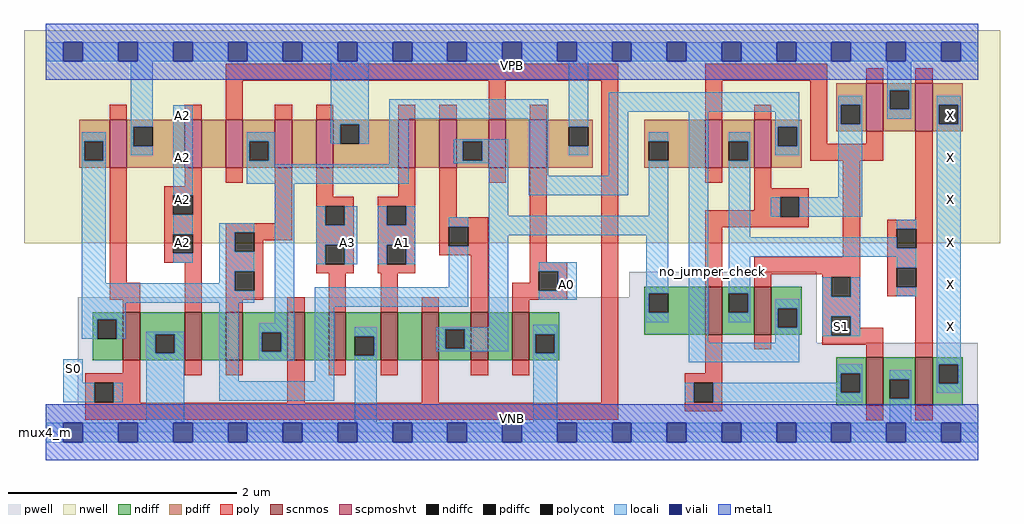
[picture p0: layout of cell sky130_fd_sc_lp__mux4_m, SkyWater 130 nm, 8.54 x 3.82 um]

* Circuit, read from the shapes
.subckt sky130_fd_sc_lp__mux4_m A0 A1 A2 A3 S0 S1 VGND VNB VPB VPWR X
XM1 VGND S0 n1 VNB sky130_fd_pr__nfet_01v8 w=0.42 l=0.15
XM2 n2 A2 VGND VNB sky130_fd_pr__nfet_01v8 w=0.42 l=0.15
XM3 n3 n1 n2 VNB sky130_fd_pr__nfet_01v8 w=0.42 l=0.15
XM4 n4 S0 n3 VNB sky130_fd_pr__nfet_01v8 w=0.42 l=0.15
XM5 VGND A3 n4 VNB sky130_fd_pr__nfet_01v8 w=0.42 l=0.15
XM6 n5 A1 VGND VNB sky130_fd_pr__nfet_01v8 w=0.42 l=0.15
XM7 n6 S0 n5 VNB sky130_fd_pr__nfet_01v8 w=0.42 l=0.15
XM8 n7 n1 n6 VNB sky130_fd_pr__nfet_01v8 w=0.42 l=0.15
XM9 VGND A0 n7 VNB sky130_fd_pr__nfet_01v8 w=0.42 l=0.15
XM10 n8 n9 n6 VNB sky130_fd_pr__nfet_01v8 w=0.42 l=0.15
XM11 n3 S1 n8 VNB sky130_fd_pr__nfet_01v8 w=0.42 l=0.15
XM12 VGND S1 n9 VNB sky130_fd_pr__nfet_01v8 w=0.42 l=0.15
XM13 X n8 VGND VNB sky130_fd_pr__nfet_01v8 w=0.42 l=0.15
XM14 VPWR S0 n1 VPB sky130_fd_pr__pfet_01v8_hvt w=0.42 l=0.15
XM15 n10 A2 VPWR VPB sky130_fd_pr__pfet_01v8_hvt w=0.42 l=0.15
XM16 n3 S0 n10 VPB sky130_fd_pr__pfet_01v8_hvt w=0.42 l=0.15
XM17 n11 n1 n3 VPB sky130_fd_pr__pfet_01v8_hvt w=0.42 l=0.15
XM18 VPWR A3 n11 VPB sky130_fd_pr__pfet_01v8_hvt w=0.42 l=0.15
XM19 n12 A1 VPWR VPB sky130_fd_pr__pfet_01v8_hvt w=0.42 l=0.15
XM20 n6 n1 n12 VPB sky130_fd_pr__pfet_01v8_hvt w=0.42 l=0.15
XM21 n13 S0 n6 VPB sky130_fd_pr__pfet_01v8_hvt w=0.42 l=0.15
XM22 VPWR A0 n13 VPB sky130_fd_pr__pfet_01v8_hvt w=0.42 l=0.15
XM23 n8 S1 n6 VPB sky130_fd_pr__pfet_01v8_hvt w=0.42 l=0.15
XM24 n3 n9 n8 VPB sky130_fd_pr__pfet_01v8_hvt w=0.42 l=0.15
XM25 VPWR S1 n9 VPB sky130_fd_pr__pfet_01v8_hvt w=0.42 l=0.15
XM26 X n8 VPWR VPB sky130_fd_pr__pfet_01v8_hvt w=0.42 l=0.15
.ends

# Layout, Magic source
magic
tech sky130A
magscale 1 2
<< nwell >>
rect -38 331 1670 704
<< pwell >>
rect 1021 236 1349 281
rect 56 157 1349 236
rect 56 49 1631 157
rect 0 0 1632 49
<< scnmos >>
rect 135 126 165 210
rect 243 126 273 210
rect 315 126 345 210
rect 423 126 453 210
rect 495 126 525 210
rect 586 126 616 210
rect 658 126 688 210
rect 744 126 774 210
rect 816 126 846 210
rect 1154 171 1184 255
rect 1240 171 1270 255
rect 1436 47 1466 131
rect 1522 47 1552 131
<< scpmoshvt >>
rect 112 463 142 547
rect 243 463 273 547
rect 315 463 345 547
rect 401 463 431 547
rect 473 463 503 547
rect 617 463 647 547
rect 689 463 719 547
rect 775 463 805 547
rect 847 463 877 547
rect 1154 463 1184 547
rect 1240 463 1270 547
rect 1436 527 1466 611
rect 1522 527 1552 611
<< ndiff >>
rect 82 198 135 210
rect 82 164 90 198
rect 124 164 135 198
rect 82 126 135 164
rect 165 172 243 210
rect 165 138 192 172
rect 226 138 243 172
rect 165 126 243 138
rect 273 126 315 210
rect 345 175 423 210
rect 345 141 378 175
rect 412 141 423 175
rect 345 126 423 141
rect 453 126 495 210
rect 525 168 586 210
rect 525 134 541 168
rect 575 134 586 168
rect 525 126 586 134
rect 616 126 658 210
rect 688 180 744 210
rect 688 146 699 180
rect 733 146 744 180
rect 688 126 744 146
rect 774 126 816 210
rect 846 172 899 210
rect 846 138 857 172
rect 891 138 899 172
rect 846 126 899 138
rect 1047 243 1154 255
rect 1047 209 1055 243
rect 1089 209 1154 243
rect 1047 171 1154 209
rect 1184 243 1240 255
rect 1184 209 1195 243
rect 1229 209 1240 243
rect 1184 171 1240 209
rect 1270 217 1323 255
rect 1270 183 1281 217
rect 1315 183 1323 217
rect 1270 171 1323 183
rect 1383 103 1436 131
rect 1383 69 1391 103
rect 1425 69 1436 103
rect 1383 47 1436 69
rect 1466 93 1522 131
rect 1466 59 1477 93
rect 1511 59 1522 93
rect 1466 47 1522 59
rect 1552 119 1605 131
rect 1552 85 1563 119
rect 1597 85 1605 119
rect 1552 47 1605 85
<< pdiff >>
rect 59 509 112 547
rect 59 475 67 509
rect 101 475 112 509
rect 59 463 112 475
rect 142 535 243 547
rect 142 501 153 535
rect 187 501 243 535
rect 142 463 243 501
rect 273 463 315 547
rect 345 509 401 547
rect 345 475 356 509
rect 390 475 401 509
rect 345 463 401 475
rect 431 463 473 547
rect 503 539 617 547
rect 503 505 515 539
rect 549 505 617 539
rect 503 463 617 505
rect 647 463 689 547
rect 719 509 775 547
rect 719 475 730 509
rect 764 475 775 509
rect 719 463 775 475
rect 805 463 847 547
rect 877 535 957 547
rect 877 501 915 535
rect 949 501 957 535
rect 877 463 957 501
rect 1047 509 1154 547
rect 1047 475 1055 509
rect 1089 475 1154 509
rect 1047 463 1154 475
rect 1184 509 1240 547
rect 1184 475 1195 509
rect 1229 475 1240 509
rect 1184 463 1240 475
rect 1270 535 1323 547
rect 1270 501 1281 535
rect 1315 501 1323 535
rect 1270 463 1323 501
rect 1383 573 1436 611
rect 1383 539 1391 573
rect 1425 539 1436 573
rect 1383 527 1436 539
rect 1466 599 1522 611
rect 1466 565 1477 599
rect 1511 565 1522 599
rect 1466 527 1522 565
rect 1552 573 1605 611
rect 1552 539 1563 573
rect 1597 539 1605 573
rect 1552 527 1605 539
<< ndiffc >>
rect 90 164 124 198
rect 192 138 226 172
rect 378 141 412 175
rect 541 134 575 168
rect 699 146 733 180
rect 857 138 891 172
rect 1055 209 1089 243
rect 1195 209 1229 243
rect 1281 183 1315 217
rect 1391 69 1425 103
rect 1477 59 1511 93
rect 1563 85 1597 119
<< pdiffc >>
rect 67 475 101 509
rect 153 501 187 535
rect 356 475 390 509
rect 515 505 549 539
rect 730 475 764 509
rect 915 501 949 535
rect 1055 475 1089 509
rect 1195 475 1229 509
rect 1281 501 1315 535
rect 1391 539 1425 573
rect 1477 565 1511 599
rect 1563 539 1597 573
<< poly >>
rect 315 615 1002 645
rect 112 547 142 573
rect 243 547 273 573
rect 315 547 345 615
rect 401 547 431 573
rect 473 547 503 573
rect 617 547 647 573
rect 689 547 719 573
rect 775 547 805 615
rect 847 547 877 573
rect 112 262 142 463
rect 243 431 273 463
rect 315 437 345 463
rect 207 415 273 431
rect 207 381 223 415
rect 257 381 273 415
rect 207 347 273 381
rect 401 366 431 463
rect 207 313 223 347
rect 257 313 273 347
rect 207 297 273 313
rect 112 232 165 262
rect 135 210 165 232
rect 243 210 273 297
rect 315 350 431 366
rect 315 316 331 350
rect 365 336 431 350
rect 473 412 503 463
rect 617 412 647 463
rect 473 396 539 412
rect 473 362 489 396
rect 523 362 539 396
rect 365 316 381 336
rect 315 282 381 316
rect 315 248 331 282
rect 365 248 381 282
rect 473 328 539 362
rect 473 294 489 328
rect 523 294 539 328
rect 473 278 539 294
rect 581 396 647 412
rect 581 362 597 396
rect 631 362 647 396
rect 581 328 647 362
rect 581 294 597 328
rect 631 294 647 328
rect 689 376 719 463
rect 775 437 805 463
rect 689 360 774 376
rect 689 326 705 360
rect 739 326 774 360
rect 689 310 774 326
rect 581 278 647 294
rect 315 232 381 248
rect 315 210 345 232
rect 423 210 453 236
rect 495 210 525 278
rect 586 210 616 278
rect 658 210 688 236
rect 744 210 774 310
rect 847 298 877 463
rect 847 282 913 298
rect 847 262 863 282
rect 816 248 863 262
rect 897 248 913 282
rect 816 232 913 248
rect 816 210 846 232
rect 135 103 165 126
rect 69 87 165 103
rect 243 100 273 126
rect 315 100 345 126
rect 69 53 85 87
rect 119 53 165 87
rect 69 52 165 53
rect 423 52 453 126
rect 495 100 525 126
rect 586 100 616 126
rect 658 52 688 126
rect 744 100 774 126
rect 816 100 846 126
rect 972 52 1002 615
rect 1154 615 1368 645
rect 1154 547 1184 615
rect 1240 547 1270 573
rect 1338 505 1368 615
rect 1436 611 1466 637
rect 1522 611 1552 637
rect 1436 505 1466 527
rect 1338 475 1466 505
rect 1154 437 1184 463
rect 1240 427 1270 463
rect 1240 411 1335 427
rect 1240 389 1285 411
rect 1154 377 1285 389
rect 1319 377 1335 411
rect 1154 359 1335 377
rect 1154 255 1184 359
rect 1395 307 1425 475
rect 1522 372 1552 527
rect 1240 277 1425 307
rect 1240 255 1270 277
rect 1359 271 1425 277
rect 1359 237 1375 271
rect 1409 237 1425 271
rect 1473 356 1552 372
rect 1473 322 1489 356
rect 1523 322 1552 356
rect 1473 288 1552 322
rect 1473 254 1489 288
rect 1523 254 1552 288
rect 1473 238 1552 254
rect 1359 203 1425 237
rect 1154 103 1184 171
rect 1240 145 1270 171
rect 1359 169 1375 203
rect 1409 183 1425 203
rect 1409 169 1466 183
rect 1359 153 1466 169
rect 1436 131 1466 153
rect 1522 131 1552 238
rect 69 22 1002 52
rect 1118 87 1184 103
rect 1118 53 1134 87
rect 1168 53 1184 87
rect 1118 37 1184 53
rect 1436 21 1466 47
rect 1522 21 1552 47
<< polycont >>
rect 223 381 257 415
rect 223 313 257 347
rect 331 316 365 350
rect 489 362 523 396
rect 331 248 365 282
rect 489 294 523 328
rect 597 362 631 396
rect 597 294 631 328
rect 705 326 739 360
rect 863 248 897 282
rect 85 53 119 87
rect 1285 377 1319 411
rect 1375 237 1409 271
rect 1489 322 1523 356
rect 1489 254 1523 288
rect 1375 169 1409 203
rect 1134 53 1168 87
<< locali >>
rect 0 649 31 683
rect 65 649 127 683
rect 161 649 223 683
rect 257 649 319 683
rect 353 649 415 683
rect 449 649 511 683
rect 545 649 607 683
rect 641 649 703 683
rect 737 649 799 683
rect 833 649 895 683
rect 929 649 991 683
rect 1025 649 1087 683
rect 1121 649 1183 683
rect 1217 649 1279 683
rect 1313 649 1375 683
rect 1409 649 1471 683
rect 1505 649 1567 683
rect 1601 649 1632 683
rect 149 535 187 649
rect 63 509 105 525
rect 63 475 67 509
rect 101 475 105 509
rect 149 501 153 535
rect 149 485 187 501
rect 63 261 105 475
rect 223 415 257 572
rect 499 539 565 649
rect 352 509 401 525
rect 352 475 356 509
rect 390 475 401 509
rect 499 505 515 539
rect 549 505 565 539
rect 601 549 879 583
rect 352 469 401 475
rect 601 469 635 549
rect 714 509 809 513
rect 714 475 730 509
rect 764 475 809 509
rect 714 471 809 475
rect 352 435 635 469
rect 223 347 257 381
rect 223 297 257 313
rect 304 350 365 366
rect 304 316 331 350
rect 304 282 365 316
rect 304 261 331 282
rect 63 248 331 261
rect 63 227 365 248
rect 63 198 140 227
rect 63 164 90 198
rect 124 164 140 198
rect 176 172 242 176
rect 176 138 192 172
rect 226 138 242 172
rect 31 87 65 128
rect 31 53 85 87
rect 119 53 135 87
rect 176 17 242 138
rect 304 89 338 227
rect 401 191 435 435
rect 473 362 489 396
rect 523 362 545 396
rect 473 328 545 362
rect 473 294 489 328
rect 523 294 545 328
rect 581 362 597 396
rect 631 362 647 396
rect 775 379 809 471
rect 845 449 879 549
rect 915 535 949 649
rect 1473 599 1515 649
rect 915 485 949 501
rect 985 561 1319 595
rect 985 449 1019 561
rect 845 415 1019 449
rect 1055 509 1089 525
rect 1055 379 1089 475
rect 581 328 647 362
rect 581 294 597 328
rect 631 294 647 328
rect 705 360 739 376
rect 705 254 739 326
rect 374 175 435 191
rect 374 141 378 175
rect 412 141 435 175
rect 374 125 435 141
rect 471 220 739 254
rect 775 345 1089 379
rect 471 89 505 220
rect 775 184 809 345
rect 863 282 929 298
rect 897 248 929 282
rect 863 232 929 248
rect 1051 243 1089 345
rect 1051 209 1055 243
rect 1051 193 1089 209
rect 304 55 505 89
rect 541 168 579 184
rect 575 134 579 168
rect 683 180 809 184
rect 683 146 699 180
rect 733 146 809 180
rect 683 142 809 146
rect 853 172 895 188
rect 541 17 579 134
rect 853 138 857 172
rect 891 138 895 172
rect 853 17 895 138
rect 1125 157 1159 561
rect 1277 535 1319 561
rect 1195 509 1233 525
rect 1229 475 1233 509
rect 1277 501 1281 535
rect 1315 501 1319 535
rect 1277 485 1319 501
rect 1387 573 1429 589
rect 1387 539 1391 573
rect 1425 539 1429 573
rect 1473 565 1477 599
rect 1511 565 1515 599
rect 1473 549 1515 565
rect 1559 573 1601 589
rect 1195 341 1233 475
rect 1387 411 1429 539
rect 1269 377 1285 411
rect 1319 377 1429 411
rect 1559 539 1563 573
rect 1597 539 1601 573
rect 1489 356 1523 372
rect 1195 322 1489 341
rect 1195 307 1523 322
rect 1195 243 1233 307
rect 1489 288 1523 307
rect 1229 209 1233 243
rect 1359 237 1375 271
rect 1409 237 1425 271
rect 1489 238 1523 254
rect 1195 193 1233 209
rect 1277 217 1319 233
rect 1277 183 1281 217
rect 1315 183 1319 217
rect 1277 157 1319 183
rect 1359 203 1425 237
rect 1359 169 1375 203
rect 1409 169 1425 203
rect 1359 168 1425 169
rect 1125 123 1319 157
rect 1559 119 1601 539
rect 1387 103 1429 119
rect 1387 87 1391 103
rect 1118 53 1134 87
rect 1168 69 1391 87
rect 1425 69 1429 103
rect 1168 53 1429 69
rect 1477 93 1515 109
rect 1511 59 1515 93
rect 1559 85 1563 119
rect 1597 85 1601 119
rect 1559 69 1601 85
rect 1477 17 1515 59
rect 0 -17 31 17
rect 65 -17 127 17
rect 161 -17 223 17
rect 257 -17 319 17
rect 353 -17 415 17
rect 449 -17 511 17
rect 545 -17 607 17
rect 641 -17 703 17
rect 737 -17 799 17
rect 833 -17 895 17
rect 929 -17 991 17
rect 1025 -17 1087 17
rect 1121 -17 1183 17
rect 1217 -17 1279 17
rect 1313 -17 1375 17
rect 1409 -17 1471 17
rect 1505 -17 1567 17
rect 1601 -17 1632 17
<< viali >>
rect 31 649 65 683
rect 127 649 161 683
rect 223 649 257 683
rect 319 649 353 683
rect 415 649 449 683
rect 511 649 545 683
rect 607 649 641 683
rect 703 649 737 683
rect 799 649 833 683
rect 895 649 929 683
rect 991 649 1025 683
rect 1087 649 1121 683
rect 1183 649 1217 683
rect 1279 649 1313 683
rect 1375 649 1409 683
rect 1471 649 1505 683
rect 1567 649 1601 683
rect 31 -17 65 17
rect 127 -17 161 17
rect 223 -17 257 17
rect 319 -17 353 17
rect 415 -17 449 17
rect 511 -17 545 17
rect 607 -17 641 17
rect 703 -17 737 17
rect 799 -17 833 17
rect 895 -17 929 17
rect 991 -17 1025 17
rect 1087 -17 1121 17
rect 1183 -17 1217 17
rect 1279 -17 1313 17
rect 1375 -17 1409 17
rect 1471 -17 1505 17
rect 1567 -17 1601 17
<< metal1 >>
rect 0 683 1632 715
rect 0 649 31 683
rect 65 649 127 683
rect 161 649 223 683
rect 257 649 319 683
rect 353 649 415 683
rect 449 649 511 683
rect 545 649 607 683
rect 641 649 703 683
rect 737 649 799 683
rect 833 649 895 683
rect 929 649 991 683
rect 1025 649 1087 683
rect 1121 649 1183 683
rect 1217 649 1279 683
rect 1313 649 1375 683
rect 1409 649 1471 683
rect 1505 649 1567 683
rect 1601 649 1632 683
rect 0 617 1632 649
rect 0 17 1632 49
rect 0 -17 31 17
rect 65 -17 127 17
rect 161 -17 223 17
rect 257 -17 319 17
rect 353 -17 415 17
rect 449 -17 511 17
rect 545 -17 607 17
rect 641 -17 703 17
rect 737 -17 799 17
rect 833 -17 895 17
rect 929 -17 991 17
rect 1025 -17 1087 17
rect 1121 -17 1183 17
rect 1217 -17 1279 17
rect 1313 -17 1375 17
rect 1409 -17 1471 17
rect 1505 -17 1567 17
rect 1601 -17 1632 17
rect 0 -49 1632 -17
<< labels >>
flabel pwell s 0 0 1632 49 0 FreeSans 200 0 0 0 VNB
port 8 nsew ground bidirectional
flabel nwell s 0 617 1632 666 0 FreeSans 200 0 0 0 VPB
port 9 nsew power bidirectional
rlabel comment s 0 0 0 0 4 mux4_m
flabel comment s 1167 281 1167 281 0 FreeSans 200 90 0 0 no_jumper_check
flabel metal1 s 0 617 1632 666 0 FreeSans 340 0 0 0 VPWR
port 10 nsew power bidirectional
flabel metal1 s 0 0 1632 49 0 FreeSans 340 0 0 0 VGND
port 7 nsew ground bidirectional
flabel locali s 895 242 929 276 0 FreeSans 340 0 0 0 A0
port 1 nsew signal input
flabel locali s 31 94 65 128 0 FreeSans 340 0 0 0 S0
port 5 nsew signal input
flabel locali s 607 316 641 350 0 FreeSans 340 0 0 0 A1
port 2 nsew signal input
flabel locali s 223 316 257 350 0 FreeSans 340 0 0 0 A2
port 3 nsew signal input
flabel locali s 223 390 257 424 0 FreeSans 340 0 0 0 A2
port 3 nsew signal input
flabel locali s 223 464 257 498 0 FreeSans 340 0 0 0 A2
port 3 nsew signal input
flabel locali s 223 538 257 572 0 FreeSans 340 0 0 0 A2
port 3 nsew signal input
flabel locali s 511 316 545 350 0 FreeSans 340 0 0 0 A3
port 4 nsew signal input
flabel locali s 1375 168 1409 202 0 FreeSans 340 0 0 0 S1
port 6 nsew signal input
flabel locali s 1567 168 1601 202 0 FreeSans 340 0 0 0 X
port 11 nsew signal output
flabel locali s 1567 242 1601 276 0 FreeSans 340 0 0 0 X
port 11 nsew signal output
flabel locali s 1567 316 1601 350 0 FreeSans 340 0 0 0 X
port 11 nsew signal output
flabel locali s 1567 390 1601 424 0 FreeSans 340 0 0 0 X
port 11 nsew signal output
flabel locali s 1567 464 1601 498 0 FreeSans 340 0 0 0 X
port 11 nsew signal output
flabel locali s 1567 538 1601 572 0 FreeSans 340 0 0 0 X
port 11 nsew signal output
<< properties >>
string LEFsite unit
string LEFclass CORE
string FIXED_BBOX 0 0 1632 666
string GDS_FILE $PDKPATH/libs.ref/sky130_fd_sc_lp/gds/sky130_fd_sc_lp.gds
string LEFsymmetry X Y R90
string GDS_END 1548504
string GDS_START 1536338
<< end >>
